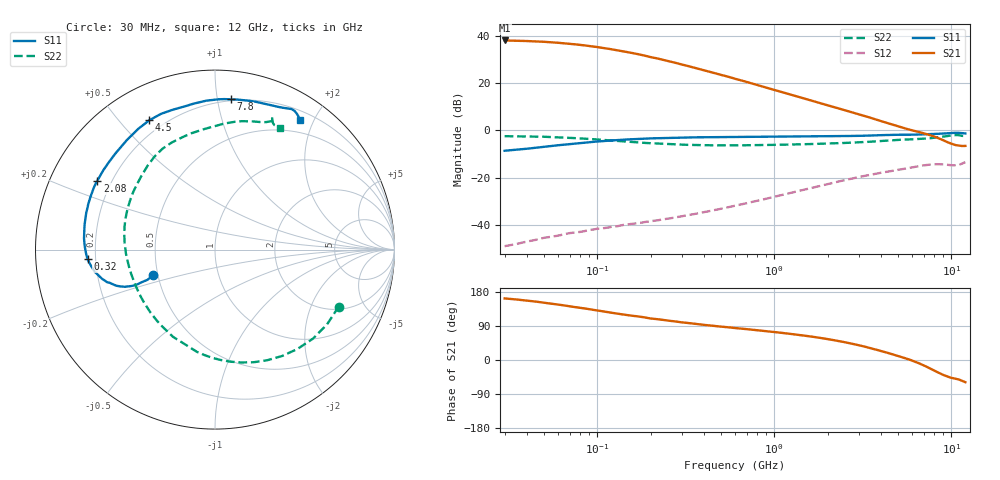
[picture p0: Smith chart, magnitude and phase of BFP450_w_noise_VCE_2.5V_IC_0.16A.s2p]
! (c) 2015  Infineon Technologies AG, Munich
! Infineon Technologies  Discrete & RF Semiconductors
! BFP450
! VCE =  2.5 V,  IC = 0.16 A
! Common Emitter S-Parameters:  Nov 2015
# GHz  S  MA  R  50
!  f  S11  S21  S12  S22
! GHz  MAG  ANG  MAG  ANG  MAG  ANG  MAG  ANG
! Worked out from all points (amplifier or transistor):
!   239 points, 30 MHz to 12 GHz, reference 50 ohm
!   highest |S21| = 38.0 dB at 30 MHz (marker M1)
!   |S21| within 3 dB of that: start of sweep to 104.6 MHz
!   unconditionally stable (mu >= 1): 713.1 MHz to end of sweep
!   at 300 MHz: K = 0.81, MSG = 32.1 dB, |S12| = -36.2 dB
!   at 1.88 GHz: K = 1.10, MAG = 15.2 dB, |S12| = -23.1 dB
!   at 12 GHz: K = 1.08, MAG = 1.7 dB, |S12| = -13.4 dB
!   lowest NFmin = 2.68 dB at 450 MHz
!   S11 on the Smith chart (normalised r, x): 30 MHz: 0.47, -0.16; 320 MHz: 0.17, -0.03; 2.08 GHz: 0.15, +0.27; 4.5 GHz: 0.15, +0.60; 7.8 GHz: 0.19, +1.09; 12 GHz: 0.31, +1.81
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0.03  0.3731 -157.6  79.8 162.5  0.0036 82.8  0.7588 -24.7
0.04  0.4115 -155.9  77.58 156.8  0.0045 77.6  0.7507 -33.7
0.05  0.4535 -156.0  74.75 151.3  0.0054 74.4  0.7375 -42.3
0.06  0.4872 -155.9  71.31 146.5  0.006 70.1  0.7196 -50.3
0.07  0.5165 -156.7  67.81 141.6  0.0068 67.6  0.7006 -57.8
0.085  0.5544 -158.2  62.71 136.0  0.0075 64.8  0.6717 -67.8
0.09  0.565 -158.7  61.03 134.0  0.0079 64.1  0.6636 -71.0
0.11  0.5995 -161.1  54.95 127.6  0.0087 62.4  0.6303 -82.2
0.13  0.627 -163.1  49.45 122.4  0.0095 60.5  0.6022 -91.8
0.15  0.6482 -165.3  44.75 117.9  0.0104 60.0  0.579 -99.9
0.2  0.6813 -169.5  35.56 109.6  0.0121 59.3  0.5393 -115.7
0.24  0.6939 -172.0  30.58 105.2  0.0134 59.9  0.519 -124.7
0.32  0.7121 -175.9  23.4 98.1  0.016 61.4  0.4982 -138.3
0.4  0.7203 -179.0  18.74 92.8  0.0188 62.7  0.4896 -147.7
0.6  0.732 175.5  12.38 84.3  0.0256 64.6  0.4859 -162.2
0.8  0.7369 171.1  9.129 78.4  0.0327 64.8  0.4904 -171.1
1  0.7412 167.4  7.18 73.7  0.0397 63.9  0.4971 -177.8
1.64  0.7537 156.7  4.228 61.4  0.062 58.5  0.5183 166.8
2.08  0.7599 149.7  3.275 53.8  0.0764 53.5  0.5319 158.1
4.5  0.8081 116.9  1.377 16.9  0.1376 25.2  0.619 122.8
7.8  0.8419 84.1  0.768 -25.2  0.1925 -10.6  0.6943 88.3
12  0.8662 56.8  0.473 -58.6  0.2138 -40.3  0.7693 62.0
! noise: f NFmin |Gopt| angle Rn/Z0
0.45  2.68  0.71  -172  0.07
0.9  2.73  0.73  -165  0.1
1.9  2.84  0.73  -148  0.24
2.4  2.91  0.73  -138  0.37
